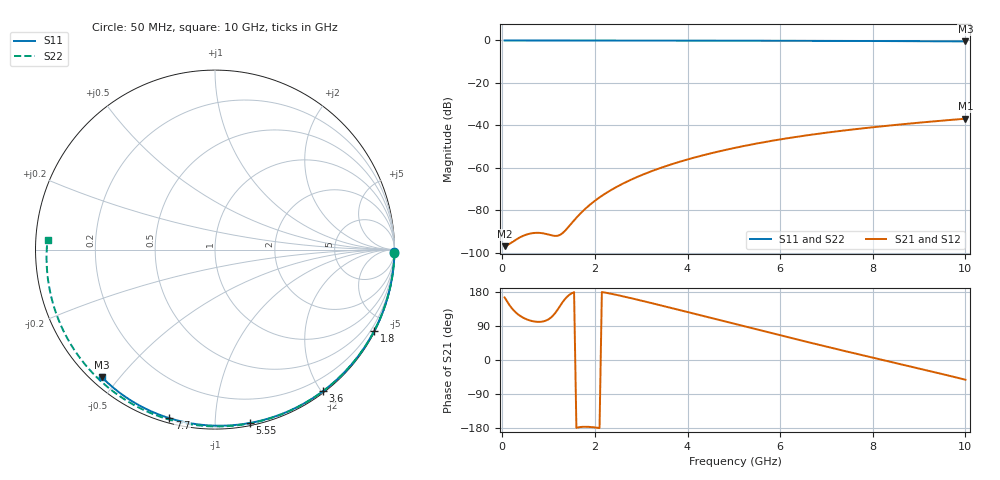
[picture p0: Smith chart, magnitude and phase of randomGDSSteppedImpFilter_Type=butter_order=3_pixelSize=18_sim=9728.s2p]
! freq	dB(S11)	phase(S11)	dB(S12)	phase(S12)
!  dB(S21)	phase(S21)	dB(S22)	phase(S22)
!S-par simulation data
#  GHz  S  DB  R 50
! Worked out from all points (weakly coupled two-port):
!   200 points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, 50 MHz to 10 GHz, reference 50 ohm
!   highest |S21| = -36.90 dB at 10 GHz (marker M1); lowest = -97.0 dB at 50 MHz (marker M2)
!   lowest |S11| = -0.4 dB at 10 GHz (marker M3), VSWR 38.88, Z = 1.55 - j22.5 ohm
!   |S11| at or under -10 dB: nowhere
!   |S22| runs from -0.6 to 0.0 dB; largest |S21 - S12| = 0
!   S11 on the Smith chart (normalised r, x): 50 MHz: open; 1.8 GHz: 0.04, -4.17; 3.6 GHz: 0.02, -2.02; 5.55 GHz: 0.02, -1.22; 7.7 GHz: 0.02, -0.76; 10 GHz: 0.03, -0.45
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0.05  -0.00 -0.8  -96.99 165.1  -96.99 165.1  -0.00 -1.1
0.45  -0.01 -6.8  -92.12 111.7  -92.12 111.7  -0.01 -9.6
0.85  -0.02 -12.9  -90.83 101.1  -90.83 101.1  -0.02 -18.0
1.3  -0.02 -19.6  -90.87 152.3  -90.87 152.3  -0.03 -27.4
1.75  -0.03 -26.2  -80.22 -176.3  -80.22 -176.3  -0.05 -36.6
1.8  -0.03 -27.0  -79.21 -176.2  -79.21 -176.2  -0.05 -37.6
1.95  -0.04 -29.2  -76.43 -177.2  -76.43 -177.2  -0.05 -40.7
2.1  -0.04 -31.4  -74.00 -179.6  -74.00 -179.6  -0.06 -43.7
2.45  -0.05 -36.4  -69.27 172.3  -69.27 172.3  -0.06 -50.7
2.9  -0.06 -42.9  -64.48 159.7  -64.48 159.7  -0.08 -59.5
3.4  -0.07 -49.9  -60.24 144.8  -60.24 144.8  -0.09 -69.1
3.6  -0.07 -52.7  -58.76 138.8  -58.76 138.8  -0.10 -72.9
4.3  -0.09 -62.3  -54.33 117.4  -54.33 117.4  -0.12 -85.8
5.05  -0.11 -72.3  -50.51 94.3  -50.51 94.3  -0.15 -99.2
5.55  -0.13 -78.7  -48.37 79.0  -48.37 79.0  -0.18 -107.8
6.1  -0.15 -85.7  -46.30 62.3  -46.30 62.3  -0.21 -117.2
6.7  -0.18 -93.1  -44.35 44.2  -44.35 44.2  -0.25 -127.3
7.2  -0.21 -99.2  -42.92 29.4  -42.92 29.4  -0.28 -135.6
7.7  -0.24 -105.2  -41.64 14.8  -41.64 14.8  -0.33 -143.9
8.35  -0.29 -112.8  -40.13 -3.9  -40.13 -3.9  -0.39 -154.8
9.2  -0.36 -122.5  -38.37 -28.3  -38.37 -28.3  -0.48 -169.2
10  -0.45 -131.5  -36.90 -52.0  -36.90 -52.0  -0.59 176.6
